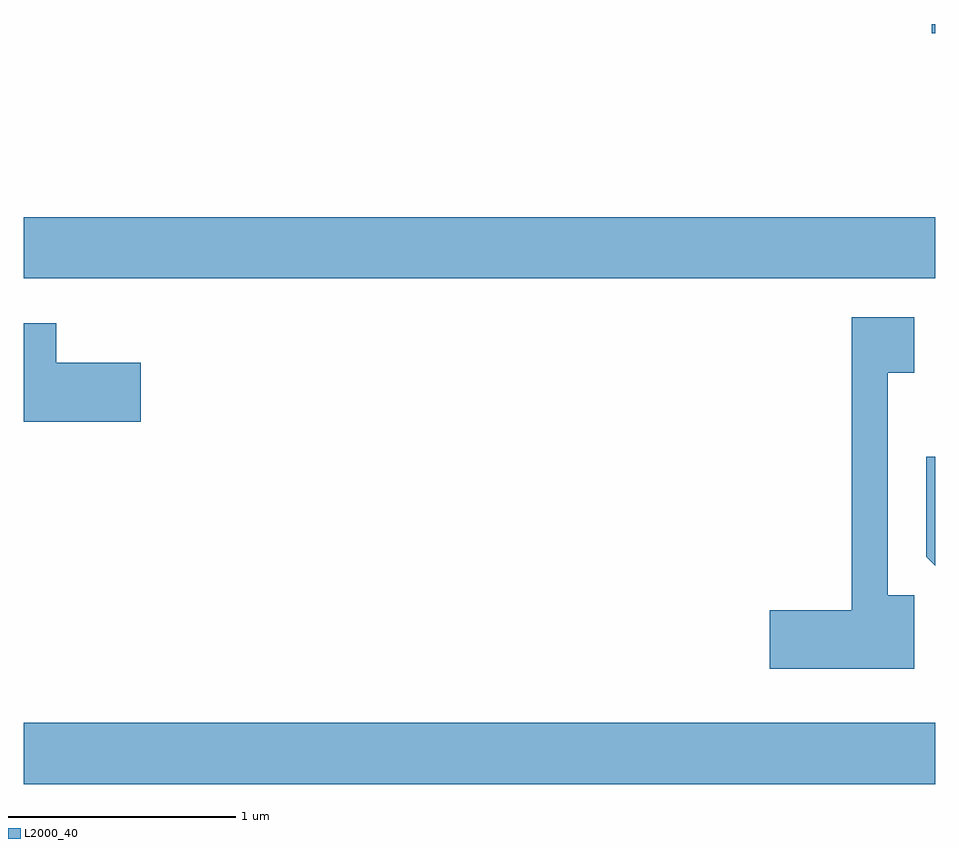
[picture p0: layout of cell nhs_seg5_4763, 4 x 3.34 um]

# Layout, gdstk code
import gdstk
lib = gdstk.Library(unit=1e-6, precision=1e-09)
def R(c, l, rs):  # rectangles x0, y0, x1, y1
    for r in rs: c.add(gdstk.rectangle(r[:2], r[2:], *l))
def P(c, l, *ps):  # polygons
    for p in ps: c.add(gdstk.Polygon(p, *l))
L2000_40 = (2000, 40)

nhs_seg5_4763 = lib.new_cell('nhs_seg5_4763')
R(nhs_seg5_4763, L2000_40, [(325.611,1516.736,329.611,1517.004), (325.611,1518.956,329.611,1519.224), (329.596,1520.031,329.611,1520.072)])
P(nhs_seg5_4763, L2000_40, [(329.519,1517.564),(329.404,1517.564),(329.404,1518.541),(329.519,1518.541),(329.519,1518.784),(329.246,1518.784),(329.246,1517.499),(328.886,1517.499),(328.886,1517.241),(329.519,1517.241)],
  [(326.124,1518.584),(325.754,1518.584),(325.754,1518.759),(325.611,1518.759),(325.611,1518.326),(326.124,1518.326)],
  [(329.611,1518.173),(329.571,1518.173),(329.571,1517.734),(329.611,1517.694)])

lib.write_gds('nhs_seg5_4763.gds')
